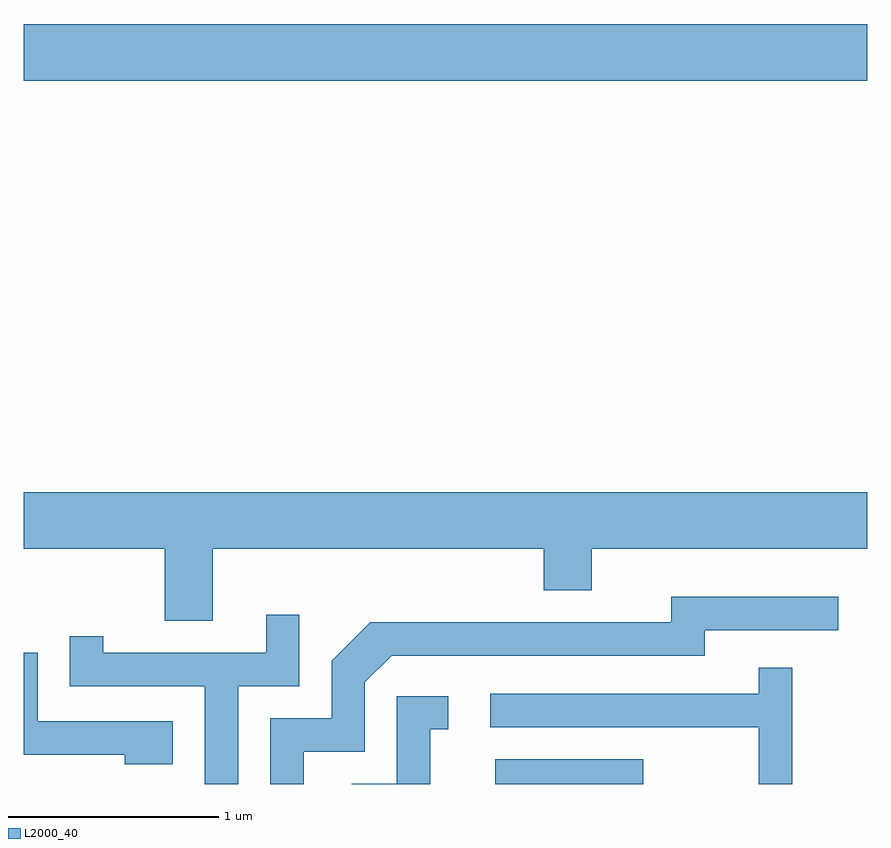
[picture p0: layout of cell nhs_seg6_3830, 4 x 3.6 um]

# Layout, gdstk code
import gdstk
lib = gdstk.Library(unit=1e-6, precision=1e-09)
def R(c, l, rs):  # rectangles x0, y0, x1, y1
    for r in rs: c.add(gdstk.rectangle(r[:2], r[2:], *l))
def P(c, l, *ps):  # polygons
    for p in ps: c.add(gdstk.Polygon(p, *l))
L2000_40 = (2000, 40)

nhs_seg6_3830 = lib.new_cell('nhs_seg6_3830')
R(nhs_seg6_3830, L2000_40, [(301.846,1642.162,302.548,1642.279), (299.611,1645.496,303.611,1645.764)])
P(nhs_seg6_3830, L2000_40, [(300.509,1643.276),(302.076,1643.276),(302.076,1643.081),(302.304,1643.081),(302.304,1643.276),(303.611,1643.276),(303.611,1643.544),(299.611,1643.544),(299.611,1643.276),(300.281,1643.276),(300.281,1642.936),(300.509,1642.936)],
  [(300.939,1642.316),(301.229,1642.316),(301.229,1642.644),(301.357,1642.771),(302.839,1642.771),(302.839,1642.891),(303.473,1642.891),(303.473,1643.049),(302.681,1643.049),(302.681,1642.929),(301.254,1642.929),(301.071,1642.747),(301.071,1642.474),(300.781,1642.474),(300.781,1642.162),(300.939,1642.162)],
  [(300.629,1642.626),(300.919,1642.626),(300.919,1642.963),(300.761,1642.963),(300.761,1642.784),(299.989,1642.784),(299.989,1642.863),(299.831,1642.863),(299.831,1642.626),(300.471,1642.626),(300.471,1642.162),(300.629,1642.162)],
  [(300.319,1642.459),(299.679,1642.459),(299.679,1642.784),(299.611,1642.784),(299.611,1642.301),(300.091,1642.301),(300.091,1642.256),(300.319,1642.256)],
  [(303.254,1642.713),(303.096,1642.713),(303.096,1642.589),(301.823,1642.589),(301.823,1642.431),(303.096,1642.431),(303.096,1642.162),(303.254,1642.162)],
  [(301.539,1642.421),(301.623,1642.421),(301.623,1642.579),(301.381,1642.579),(301.381,1642.164),(301.166,1642.164),(301.166,1642.162),(301.539,1642.162)])

lib.write_gds('nhs_seg6_3830.gds')
